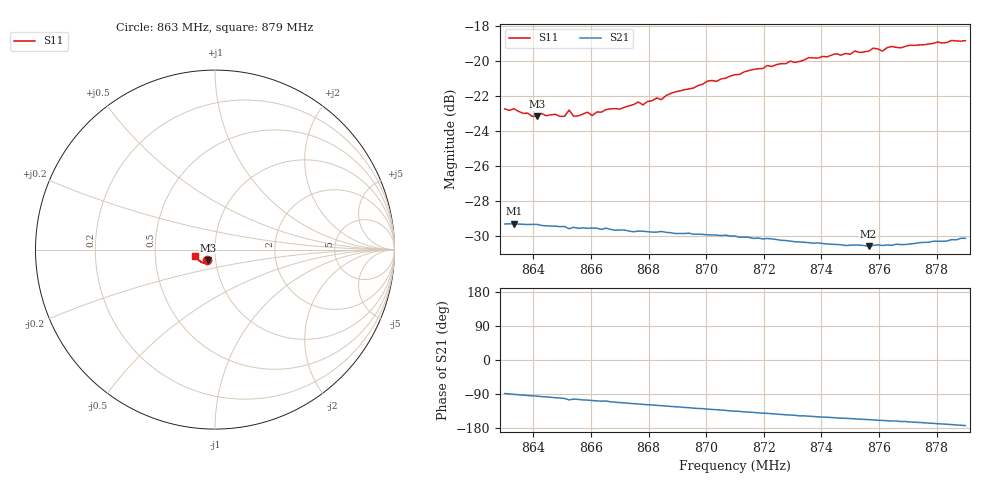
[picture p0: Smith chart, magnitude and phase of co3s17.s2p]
# HZ S RI R 50
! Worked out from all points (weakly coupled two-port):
!   101 points, 863 MHz to 879 MHz, reference 50 ohm
!   highest |S21| = -29.33 dB at 863.32 MHz (marker M1); lowest = -30.6 dB at 875.64 MHz (marker M2)
!   lowest |S11| = -23.2 dB at 864.12 MHz (marker M3), VSWR 1.15, Z = 46 - j5.31 ohm
!   |S11| at or under -10 dB: start of sweep to end of sweep
!   S12 and S22 are empty: the file has one direction only
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8.63e8  -0.0445 -0.0579  0.000836 -0.0341  0 0  0 0
8.6332e8  -0.0441 -0.0583  -0.000427 -0.0342  0 0  0 0
8.6412e8  -0.039 -0.0575  -0.00317 -0.0339  0 0  0 0
8.6428e8  -0.0388 -0.0593  -0.00393 -0.0336  0 0  0 0
8.6508e8  -0.0373 -0.0586  -0.00662 -0.0329  0 0  0 0
8.6524e8  -0.0421 -0.0589  -0.00873 -0.0319  0 0  0 0
8.654e8  -0.0366 -0.0592  -0.00757 -0.0325  0 0  0 0
8.6572e8  -0.0362 -0.0606  -0.00879 -0.0321  0 0  0 0
8.6588e8  -0.0368 -0.0612  -0.00905 -0.0319  0 0  0 0
8.6604e8  -0.035 -0.0604  -0.00968 -0.0318  0 0  0 0
8.6764e8  -0.0379 -0.0664  -0.0142 -0.0293  0 0  0 0
8.678e8  -0.0369 -0.0652  -0.0147 -0.029  0 0  0 0
8.6828e8  -0.0388 -0.0682  -0.016 -0.0281  0 0  0 0
8.6844e8  -0.0386 -0.0673  -0.0165 -0.028  0 0  0 0
8.6892e8  -0.0413 -0.0704  -0.0176 -0.0268  0 0  0 0
8.71e8  -0.0528 -0.0747  -0.0223 -0.0223  0 0  0 0
8.7372e8  -0.0721 -0.0725  -0.0258 -0.0155  0 0  0 0
8.7564e8  -0.0865 -0.0628  -0.0272 -0.0114  0 0  0 0
8.758e8  -0.0904 -0.0609  -0.0275 -0.0111  0 0  0 0
8.7612e8  -0.0883 -0.0603  -0.0277 -0.0104  0 0  0 0
8.7644e8  -0.0944 -0.0568  -0.028 -0.00964  0 0  0 0
8.79e8  -0.1088 -0.0359  -0.0308 -0.00371  0 0  0 0
